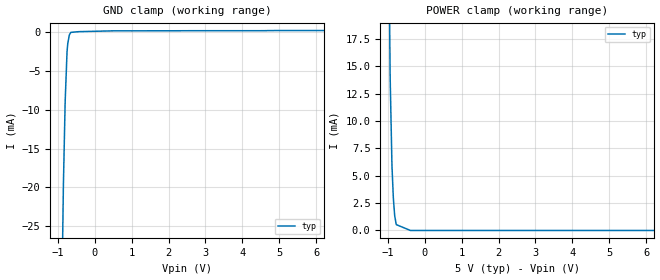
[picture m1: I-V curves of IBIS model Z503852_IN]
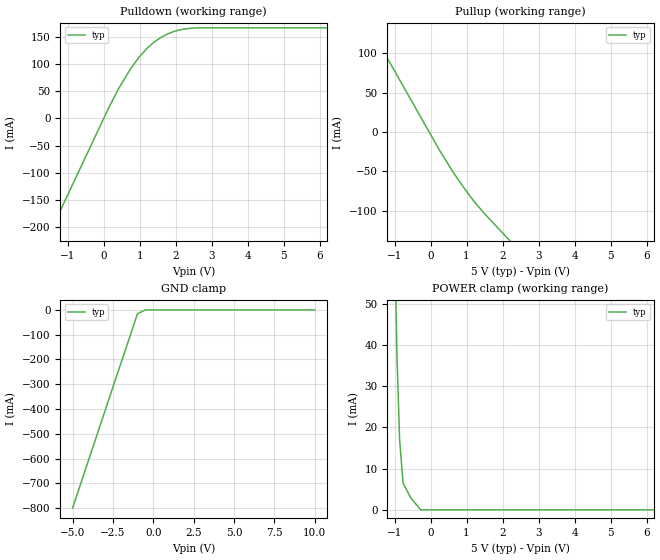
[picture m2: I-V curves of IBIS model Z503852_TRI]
| YOU ARE ONLY AUTHORIZED TO USE THIS SOFTWARE
| ACCORDING TO LICENSOR'S LICENSE RESTRICTIONS.
[IBIS Ver] 3.1
[File Name] mc74act258n.ibs
[File Rev] 2.0
[Source] Measured and created by ICX Technology
[Date] Friday 7/14/00 9:08:01 AM
[Copyright]
| (C) COPYRIGHT 1993-2000
| MENTOR GRAPHICS CORPORATION
| ICX STANDARD LIBRARY, ICX PROJECT MODELING,
| ICX CUSTOM MODELING, ICX VENDOR MODEL
| ALL RIGHTS RESERVED.
| THE FOLLOWING ARE TRADEMARKS OR SERVICE MARKS OF
| MENTOR GRAPHICS CORPORATION:ICX (R), ICX STANDARD
| LIBRARY(R), ICX PROJECT MODELING(R), ICX CUSTOM
| MODELING(R), qualityIBIS(TM), MODELVIEWER(TM),
| AND MODELEDITOR(TM)
| ALL COPIES OF SOFTWARE, INCLUDING BUT NOT LIMITED TO
| ANY MODIFICATIONS, ENHANCEMENTS OR DERIVATIVE WORKS,
| MUST CONTAIN ALL MENTOR GRAPHICS CORPORATION'S
| NOTICES AND LEGENDS, INCLUDING THOSE EMBEDDED IN
| SOFTWARE AND THOSE AFFIXED TO SOFTWARE MEDIUM
| AND CONTAINER, AS RECEIVED FROM MENTOR GRAPHICS
| CORPORATION.
|  ZAP Model Builder 2.7
[Component] MC74ACT258N
[Manufacturer] OnSemiconductor
[Package]
| variable   typ   min   max
R_pkg  .212ohms NA NA
L_pkg  4.758nH NA NA
C_pkg  1.143pF NA NA
[Pin] signal_name  model_name  R_pin  L_pin C_pin
1 B_A Z503852_IN .224 7.258n 1.578p
2 A0 Z503852_IN .216 5.258n 1.288p
3 B0 Z503852_IN .208 3.758n .998p
4 _Y0 Z503852_TRI .2 2.758n .708p
5 A1 Z503852_IN .2 2.758n .708p
6 B1 Z503852_IN .208 3.758n .998p
7 _Y1 Z503852_TRI .216 5.258n 1.288p
8 GND GND .224 7.258n 1.578p
9 _Y2 Z503852_TRI .224 7.258n 1.578p
10 B2 Z503852_IN .216 5.258n 1.288p
11 A2 Z503852_IN .208 3.758n .998p
12 _Y3 Z503852_TRI .2 2.758n .708p
13 B3 Z503852_IN .2 2.758n .708p
14 A3 Z503852_IN .208 3.758n .998p
15 _G Z503852_IN .216 5.258n 1.288p
16 VCC POWER .224 7.258n 1.578p
| Models and submodels in the file (2): Z503852_IN (Input), Z503852_TRI (3-state)
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| (C) COPYRIGHT 1993-2000
| MENTOR GRAPHICS CORPORATION
| ICX STANDARD LIBRARY, ICX PROJECT MODELING,
| ICX CUSTOM MODELING, ICX VENDOR MODEL
| ALL RIGHTS RESERVED.
| THE FOLLOWING ARE TRADEMARKS OR SERVICE MARKS OF
| MENTOR GRAPHICS CORPORATION:ICX (R), ICX STANDARD
| LIBRARY(R), ICX PROJECT MODELING(R), ICX CUSTOM
| MODELING(R), qualityIBIS(TM), MODELVIEWER(TM),
| AND MODELEDITOR(TM)
| ALL COPIES OF SOFTWARE, INCLUDING BUT NOT LIMITED TO
| ANY MODIFICATIONS, ENHANCEMENTS OR DERIVATIVE WORKS,
| MUST CONTAIN ALL MENTOR GRAPHICS CORPORATION'S
| NOTICES AND LEGENDS, INCLUDING THOSE EMBEDDED IN
| SOFTWARE AND THOSE AFFIXED TO SOFTWARE MEDIUM
| AND CONTAINER, AS RECEIVED FROM MENTOR GRAPHICS
| CORPORATION.
| Model Application Version 1.89 2/18/99.
[Model] Z503852_IN
Model_type Input
Vinl = 800.0mV
Vinh = 2.000V
C_comp 4.000pF NA NA
| variable typ   min   max
[Voltage Range] 5.000V NA NA
[GND Clamp Reference] 0.000V NA NA
[POWER Clamp Reference] 5.000V NA NA
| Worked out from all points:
|   GND clamp passes 1 mA (typ) near -0.71 V on its own axis
|   POWER clamp passes 1 mA (typ) near -0.79 V on its own axis
[GND Clamp]
-5V       -2.569A    NA         NA
-1.006V   -74.35mA   NA         NA
-844.7mV  -19.65mA   NA         NA
-797.3mV  -8.999mA   NA         NA
-747mV    -2.623mA   NA         NA
-727.8mV  -1.518mA   NA         NA
-683.8mV  -403.5uA   NA         NA
-645.2mV  -65.61uA   NA         NA
487.9mV   130.2uA    NA         NA
10V       172.3uA    NA         NA
[POWER Clamp]
-5V       3.073A     NA         NA
-1.123V   100.7mA    NA         NA
-1.035V   50.61mA    NA         NA
-933mV    14.05mA    NA         NA
-884mV    5.944mA    NA         NA
-846mV    2.932mA    NA         NA
-810mV    1.344mA    NA         NA
-767mV    533.8uA    NA         NA
-383.5mV  0A         NA         NA
10V       0A         NA         NA
| (C) COPYRIGHT 1993-2000
| MENTOR GRAPHICS CORPORATION
| ICX STANDARD LIBRARY, ICX PROJECT MODELING,
| ICX CUSTOM MODELING, ICX VENDOR MODEL
| ALL RIGHTS RESERVED.
| THE FOLLOWING ARE TRADEMARKS OR SERVICE MARKS OF
| MENTOR GRAPHICS CORPORATION:ICX (R), ICX STANDARD
| LIBRARY(R), ICX PROJECT MODELING(R), ICX CUSTOM
| MODELING(R), qualityIBIS(TM), MODELVIEWER(TM),
| AND MODELEDITOR(TM)
| ALL COPIES OF SOFTWARE, INCLUDING BUT NOT LIMITED TO
| ANY MODIFICATIONS, ENHANCEMENTS OR DERIVATIVE WORKS,
| MUST CONTAIN ALL MENTOR GRAPHICS CORPORATION'S
| NOTICES AND LEGENDS, INCLUDING THOSE EMBEDDED IN
| SOFTWARE AND THOSE AFFIXED TO SOFTWARE MEDIUM
| AND CONTAINER, AS RECEIVED FROM MENTOR GRAPHICS
| CORPORATION.
| Model Application Version 1.89 2/18/99.
[Model] Z503852_TRI
Model_type 3-state
Vref=0.000V
Rref=500.0ohms
Cref=50.00pF
Vmeas=1.500V
C_comp 8.000pF NA NA
| variable typ   min   max
[Voltage Range] 5.000V NA NA
[POWER Clamp Reference] 5.000V NA NA
[Pullup Reference] 5.000V NA NA
[Pulldown Reference] 0.000V NA NA
[GND Clamp Reference] 0.000V NA NA
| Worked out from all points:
|   slope of the pulldown table from 0 to 0.75 V, typ, clamps not added: 8.13 ohm
|   slope of the pullup table from 0 to 0.75 V, typ, clamps not added: 13.3 ohm
[GND Clamp]
-5V       -799.7mA   NA         NA
-981.7mV  -15.64mA   NA         NA
-490.9mV  0A         NA         NA
10V       0A         NA         NA
[Pulldown]
-5V       -705.5mA   NA         NA
147.1mV   20.57mA    NA         NA
425.7mV   56.29mA    NA         NA
747.1mV   91.76mA    NA         NA
981.8mV   113mA      NA         NA
1.221V    130.5mA    NA         NA
1.372V    139.3mA    NA         NA
1.621V    150.7mA    NA         NA
1.792V    156.5mA    NA         NA
2.203V    164.7mA    NA         NA
2.56V     167.2mA    NA         NA
10V       167.3mA    NA         NA
[Pullup]
-5V       400.8mA    NA         NA
239mV     -22.2mA    NA         NA
627mV     -50.93mA   NA         NA
909mV     -69.73mA   NA         NA
1.206V    -87.92mA   NA         NA
1.475V    -102.5mA   NA         NA
10V       -519.1mA   NA         NA
[POWER Clamp]
-5V       2.477A     NA         NA
-1.035V   83.25mA    NA         NA
-933mV    37.68mA    NA         NA
-859mV    17.04mA    NA         NA
-762mV    6.465mA    NA         NA
-547mV    2.893mA    NA         NA
-273.5mV  0A         NA         NA
10V       0A         NA         NA
[Ramp]
| variable typ min max
dV/dt_r 2.948/254.4p NA NA
dV/dt_f 2.948/484.4p NA NA
R_load = 500.0Ohms
